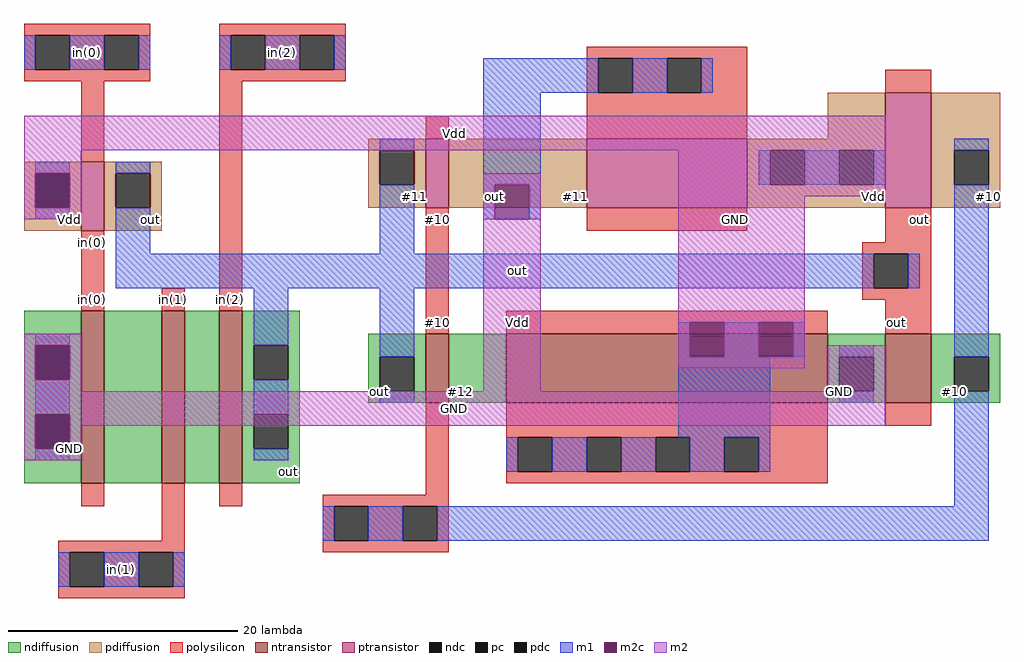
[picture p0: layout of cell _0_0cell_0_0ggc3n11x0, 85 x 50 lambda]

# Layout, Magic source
magic
tech sky130l
<< ndiffusion >>
rect 8 17 13 20
rect 8 14 9 17
rect 12 14 13 17
rect 8 11 13 14
rect 8 8 9 11
rect 12 8 13 11
rect 8 5 13 8
rect 15 5 20 20
rect 22 5 25 20
rect 27 17 32 20
rect 27 14 28 17
rect 31 14 32 17
rect 27 11 32 14
rect 38 16 43 18
rect 38 13 39 16
rect 42 13 43 16
rect 38 12 43 13
rect 45 12 50 18
rect 78 16 83 18
rect 78 13 79 16
rect 82 13 83 16
rect 78 12 83 13
rect 87 16 93 18
rect 87 13 89 16
rect 92 13 93 16
rect 87 12 93 13
rect 27 8 28 11
rect 31 8 32 11
rect 27 5 32 8
<< ndc >>
rect 9 14 12 17
rect 9 8 12 11
rect 28 14 31 17
rect 39 13 42 16
rect 79 13 82 16
rect 89 13 92 16
rect 28 8 31 11
<< ntransistor >>
rect 13 5 15 20
rect 20 5 22 20
rect 25 5 27 20
rect 43 12 45 18
rect 50 12 78 18
rect 83 12 87 18
<< pdiffusion >>
rect 8 32 13 33
rect 8 29 9 32
rect 12 29 13 32
rect 8 27 13 29
rect 15 32 20 33
rect 15 29 16 32
rect 19 29 20 32
rect 15 27 20 29
rect 78 35 83 39
rect 38 34 43 35
rect 38 31 39 34
rect 42 31 43 34
rect 38 29 43 31
rect 45 29 57 35
rect 71 34 83 35
rect 71 31 73 34
rect 76 31 79 34
rect 82 31 83 34
rect 71 29 83 31
rect 87 34 93 39
rect 87 31 89 34
rect 92 31 93 34
rect 87 29 93 31
<< pdc >>
rect 9 29 12 32
rect 16 29 19 32
rect 39 31 42 34
rect 73 31 76 34
rect 79 31 82 34
rect 89 31 92 34
<< ptransistor >>
rect 13 27 15 33
rect 43 29 45 35
rect 57 29 71 35
rect 83 29 87 39
<< polysilicon >>
rect 8 44 19 45
rect 8 41 9 44
rect 12 41 15 44
rect 18 41 19 44
rect 8 40 19 41
rect 25 44 36 45
rect 25 41 26 44
rect 29 41 32 44
rect 35 41 36 44
rect 25 40 36 41
rect 57 42 71 43
rect 13 33 15 40
rect 13 20 15 27
rect 20 20 22 22
rect 25 20 27 40
rect 57 39 58 42
rect 61 39 64 42
rect 67 39 71 42
rect 83 39 87 41
rect 43 35 45 37
rect 57 35 71 39
rect 43 18 45 29
rect 57 27 71 29
rect 83 26 87 29
rect 81 25 87 26
rect 81 22 82 25
rect 85 22 87 25
rect 81 21 87 22
rect 50 18 78 20
rect 83 18 87 21
rect 13 3 15 5
rect 20 0 22 5
rect 25 3 27 5
rect 43 4 45 12
rect 50 9 78 12
rect 83 10 87 12
rect 50 6 51 9
rect 54 6 57 9
rect 60 6 63 9
rect 66 6 69 9
rect 72 6 78 9
rect 50 5 78 6
rect 34 3 45 4
rect 11 -1 22 0
rect 34 0 35 3
rect 38 0 41 3
rect 44 0 45 3
rect 34 -1 45 0
rect 11 -4 12 -1
rect 15 -4 18 -1
rect 21 -4 22 -1
rect 11 -5 22 -4
<< pc >>
rect 9 41 12 44
rect 15 41 18 44
rect 26 41 29 44
rect 32 41 35 44
rect 58 39 61 42
rect 64 39 67 42
rect 82 22 85 25
rect 51 6 54 9
rect 57 6 60 9
rect 63 6 66 9
rect 69 6 72 9
rect 35 0 38 3
rect 41 0 44 3
rect 12 -4 15 -1
rect 18 -4 21 -1
<< m1 >>
rect 8 41 9 44
rect 12 41 15 44
rect 18 41 19 44
rect 25 41 26 44
rect 29 41 32 44
rect 35 41 36 44
rect 48 39 58 42
rect 61 39 64 42
rect 67 39 68 42
rect 39 34 42 35
rect 9 32 12 33
rect 9 28 12 29
rect 16 32 19 33
rect 16 25 19 29
rect 39 25 42 31
rect 48 31 53 39
rect 89 34 92 35
rect 72 31 73 34
rect 76 31 79 34
rect 82 31 83 34
rect 48 28 49 31
rect 52 28 53 31
rect 16 22 82 25
rect 85 22 86 25
rect 9 17 12 18
rect 9 11 12 14
rect 9 7 12 8
rect 28 17 31 22
rect 28 11 31 14
rect 39 16 42 22
rect 39 12 42 13
rect 65 16 66 19
rect 69 16 72 19
rect 75 16 76 19
rect 79 16 82 17
rect 65 9 73 16
rect 79 12 82 13
rect 89 16 92 31
rect 28 7 31 8
rect 50 6 51 9
rect 54 6 57 9
rect 60 6 63 9
rect 66 6 69 9
rect 72 6 73 9
rect 89 3 92 13
rect 34 0 35 3
rect 38 0 41 3
rect 44 0 92 3
rect 11 -4 12 -1
rect 15 -4 18 -1
rect 21 -4 22 -1
<< m2c >>
rect 9 29 12 32
rect 49 28 52 31
rect 9 14 12 17
rect 9 8 12 11
rect 66 16 69 19
rect 72 16 75 19
<< m2 >>
rect 8 34 83 37
rect 8 32 13 34
rect 8 29 9 32
rect 12 29 13 32
rect 8 28 13 29
rect 48 31 53 32
rect 48 28 49 31
rect 52 28 53 31
rect 8 17 13 18
rect 8 14 9 17
rect 12 14 13 17
rect 8 13 13 14
rect 48 13 53 28
rect 65 30 83 34
rect 65 19 76 30
rect 65 16 66 19
rect 69 16 72 19
rect 75 16 76 19
rect 65 15 76 16
rect 78 13 83 17
rect 8 11 83 13
rect 8 8 9 11
rect 12 10 83 11
rect 12 8 13 10
rect 8 7 13 8
<< labels >>
rlabel ndiffusion 89 13 89 13 3 #10
rlabel pdiffusion 92 30 92 30 7 #10
rlabel polysilicon 84 19 84 19 3 out
rlabel ndiffusion 79 13 79 13 3 GND
rlabel polysilicon 51 19 51 19 3 Vdd
rlabel ndiffusion 46 13 46 13 3 #12
rlabel polysilicon 44 19 44 19 3 #10
rlabel ndiffusion 39 13 39 13 3 out
rlabel polysilicon 70 28 70 28 7 GND
rlabel pdiffusion 56 30 56 30 7 #11
rlabel pdiffusion 49 30 49 30 7 out
rlabel polysilicon 44 28 44 28 7 #10
rlabel pdiffusion 42 30 42 30 7 #11
rlabel polysilicon 86 28 86 28 7 out
rlabel pdiffusion 82 30 82 30 7 Vdd
rlabel pdiffusion 12 28 12 28 7 Vdd
rlabel polysilicon 14 21 14 21 7 in(0)
rlabel polysilicon 14 26 14 26 7 in(0)
rlabel pdiffusion 19 28 19 28 7 out
rlabel polysilicon 21 21 21 21 7 in(1)
rlabel polysilicon 26 21 26 21 7 in(2)
rlabel ndiffusion 31 6 31 6 7 out
rlabel ndiffusion 12 8 12 8 7 GND
flabel m2 8 34 83 37 0 FreeSans 11 0 0 0 Vdd
port 1 nsew
flabel m2 8 10 83 13 0 FreeSans 11 0 0 0 GND
flabel m1 8 41 19 44 0 FreeSans 11 0 0 0 in(0)
port 3 nsew
flabel m1 11 -4 22 -1 0 FreeSans 11 0 0 0 in(1)
port 4 nsew
flabel m1 25 41 36 44 0 FreeSans 11 0 0 0 in(2)
port 5 nsew
flabel m1 16 22 86 25 0 FreeSans 11 0 0 0 out
port 6 nsew
<< end >>
